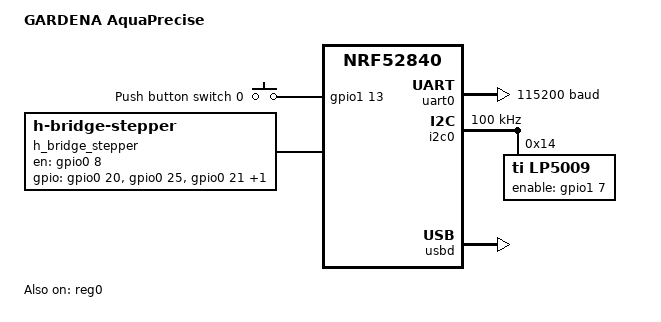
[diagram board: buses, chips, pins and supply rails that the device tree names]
/*
 * Copyright (c) 2025 Reto Schneider
 *
 * SPDX-License-Identifier: Apache-2.0
 */

/dts-v1/;
#include <nordic/nrf52840_qiaa.dtsi>
#include <nordic/nrf52840_partition.dtsi>
#include "boac-pinctrl.dtsi"
#include <zephyr/dt-bindings/led/led.h>

/ {
	model = "GARDENA AquaPrecise";
	compatible = "gardena,boac-nrf52840", "nordic,nrf52840";

	chosen {
		zephyr,bt-c2h-uart = &uart0;
		zephyr,bt-mon-uart = &uart0;
		zephyr,console = &uart0;
		zephyr,shell-uart = &uart0;
		zephyr,flash = &flash0;
	};

	buttons {
		compatible = "gpio-keys";
		button0: button_0 {
			gpios = <&gpio1 13 (GPIO_ACTIVE_HIGH)>;
			label = "Push button switch 0";
			zephyr,code = <INPUT_KEY_0>;
		};
	};

	h_bridge_stepper: h_bridge_stepper {
		compatible = "zephyr,h-bridge-stepper";
		micro-step-res = <2>;

		en-gpios = <&gpio0 8 (GPIO_ACTIVE_HIGH)>;

		gpios = <&gpio0 20 (GPIO_ACTIVE_HIGH)>,  /* Lead A1/A */
				<&gpio0 25 (GPIO_ACTIVE_HIGH)>,  /* Lead B1/B */
				<&gpio0 21 (GPIO_ACTIVE_HIGH)>,  /* Lead A2/C */
				<&gpio0 11 (GPIO_ACTIVE_HIGH)>;  /* Lead B2/D */
		status = "okay";
	};

	/* These aliases are provided for compatibility with samples */
	aliases {
		sw0 = &button0;
		watchdog0 = &wdt0;
		stepper = &h_bridge_stepper;
	};
};

&reg0 {
	status = "okay";
};

&reg1 {
	regulator-initial-mode = <NRF5X_REG_MODE_DCDC>;
};

&uicr {
	gpio-as-nreset;
};

&gpiote {
	status = "okay";
};

&gpio0 {
	status = "okay";
};

&gpio1 {
	status = "okay";
};

&uart0 {
	compatible = "nordic,nrf-uarte";
	status = "okay";
	current-speed = <115200>;
	pinctrl-0 = <&uart0_default>;
	pinctrl-1 = <&uart0_sleep>;
	pinctrl-names = "default", "sleep";
};

&i2c0 {
	compatible = "nordic,nrf-twi";
	status = "okay";
	/* Arduino compatible PINs */
	pinctrl-0 = <&i2c0_default>;
	pinctrl-1 = <&i2c0_sleep>;
	pinctrl-names = "default", "sleep";
	clock-frequency = <100000>;

	/* TI LP5009 LED controller for HMI connected to i2c0. */
	lp5009@14 {
		compatible = "ti,lp5009";
		reg = <0x14>;
		enable-gpios = <&gpio1 7 GPIO_ACTIVE_HIGH>;

		/* The LEDs have a stange mapping due to the schematics. */
		led_bt {
			label = "LED Bluetooth";
			index = <0>;
			color-mapping = <LED_COLOR_ID_BLUE>;
		};
		led_power {
			label = "LED Power";
			index = <0>;
			color-mapping = <LED_COLOR_ID_RED>,
							<LED_COLOR_ID_GREEN>;
		};
		led_watering {
			label = "LED Watering";
			index = <1>;
			color-mapping = <LED_COLOR_ID_BLUE>;
		};
	};
};

zephyr_udc0: &usbd {
	compatible = "nordic,nrf-usbd";
	status = "okay";
	cdc_acm_uart0: cdc_acm_uart0 {
		compatible = "zephyr,cdc-acm-uart";
	};
};
